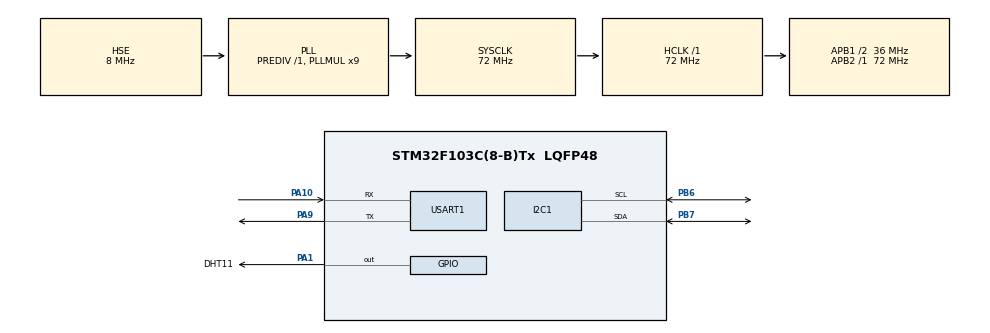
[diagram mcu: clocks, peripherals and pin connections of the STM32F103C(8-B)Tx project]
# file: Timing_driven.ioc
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Mcu.Family=STM32F1
Mcu.Name=STM32F103C(8-B)Tx
Mcu.Package=LQFP48
NVIC.PriorityGroup=NVIC_PRIORITYGROUP_4
NVIC.USART1_IRQn=true\:1\:0\:true\:false\:true\:true\:true\:true
PA1.GPIO_Label=DHT11
PA1.Signal=GPIO_Output
PA10.Mode=Asynchronous
PA10.Signal=USART1_RX
PA13.Mode=Serial_Wire
PA13.Signal=SYS_JTMS-SWDIO
PA14.Mode=Serial_Wire
PA14.Signal=SYS_JTCK-SWCLK
PA9.Mode=Asynchronous
PA9.Signal=USART1_TX
PB6.Mode=I2C
PB6.Signal=I2C1_SCL
PB7.Mode=I2C
PB7.Signal=I2C1_SDA
PD0-OSC_IN.Mode=HSE-External-Oscillator
PD0-OSC_IN.Signal=RCC_OSC_IN
PD1-OSC_OUT.Mode=HSE-External-Oscillator
PD1-OSC_OUT.Signal=RCC_OSC_OUT
ProjectManager.HeapSize=0x200
ProjectManager.StackSize=0x400
ProjectManager.TargetToolchain=STM32CubeIDE
RCC.AHBFreq_Value=72000000
RCC.APB1CLKDivider=RCC_HCLK_DIV2
RCC.APB1Freq_Value=36000000
RCC.APB1TimFreq_Value=72000000
RCC.APB2Freq_Value=72000000
RCC.APB2TimFreq_Value=72000000
RCC.HCLKFreq_Value=72000000
RCC.PLLMUL=RCC_PLL_MUL9
RCC.PLLSourceVirtual=RCC_PLLSOURCE_HSE
RCC.SYSCLKFreq_VALUE=72000000
RCC.SYSCLKSource=RCC_SYSCLKSOURCE_PLLCLK
RCC.USBFreq_Value=72000000
TIM1.Prescaler=71
USART1.VirtualMode=VM_ASYNC
VP_TIM1_VS_ClockSourceINT.Mode=Internal
board=custom

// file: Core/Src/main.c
/* USER CODE BEGIN Header */
/**
  ******************************************************************************
  * @file           : main.c
  * @brief          : Main program body
  ******************************************************************************
  * @attention
  *
  * Copyright (c) 2024 STMicroelectronics.
  * All rights reserved.
  *
  * This software is licensed under terms that can be found in the LICENSE file
  * in the root directory of this software component.
  * If no LICENSE file comes with this software, it is provided AS-IS.
  *
  ******************************************************************************
  */
/* USER CODE END Header */
#include "main.h"
#include "DHT.h"
#include "lcd1602_i2c.h"
#include "queue.h"
#include "stdio.h"
#include "string.h"
I2C_HandleTypeDef hi2c1;
TIM_HandleTypeDef htim1;
TIM_HandleTypeDef htim2;
UART_HandleTypeDef huart1;

/* USER CODE BEGIN PV */
DHT_Name dht;
char temp[16];
char humid[16];
char RxData[4];
uint8_t cycle=1;
EventQueue event;
enum SystemEvent currentEvent;
/* USER CODE END PV */

void SystemClock_Config(void);
static void MX_GPIO_Init(void);
static void MX_TIM1_Init(void);
//static void MX_TIM2_Init(void);
static void MX_USART1_UART_Init(void);
static void MX_I2C1_Init(void);
void readSensor();
void displayLCD();
void transmitData();
void initEventQueue();

void (*execute_task[])(void) = {readSensor,displayLCD,transmitData};

int main(void)
{

  HAL_Init();

  SystemClock_Config();

  MX_GPIO_Init();
  MX_TIM1_Init();

  MX_USART1_UART_Init();
  MX_I2C1_Init();

	DHT_Init(&dht,DHT11,&htim1,DHT11_GPIO_Port,DHT11_Pin);

	lcd1602_i2c_init(&hi2c1);
	EventQueue_Init(&event);
	initEventQueue();
	uint32_t timeSytick;

	//HAL_UART_Receive_IT(&huart1,(uint8_t*)RxData, 1);

  while (1)
  {

		timeSytick=HAL_GetTick();
		if(timeSytick%(cycle*1000))
		{
			EventQueue_Put(&event,EVENT01);

		}
			if(EventQueue_isEmpty(&event)){
      HAL_UART_Transmit(&huart1, (uint8_t*)"Suspend", 7, 1000);
		  HAL_UART_Transmit(&huart1,(uint8_t*)"\n", 2, 100);
				HAL_PWR_EnterSLEEPMode(PWR_MAINREGULATOR_ON, PWR_SLEEPENTRY_WFI);
				HAL_Delay(500);
			}
			else{
			currentEvent=EventQueue_Get(&event);
			(*execute_task[currentEvent])();
			}
  }

}

void SystemClock_Config(void)
{
  RCC_OscInitTypeDef RCC_OscInitStruct = {0};
  RCC_ClkInitTypeDef RCC_ClkInitStruct = {0};
  RCC_OscInitStruct.OscillatorType = RCC_OSCILLATORTYPE_HSE;
  RCC_OscInitStruct.HSEState = RCC_HSE_ON;
  RCC_OscInitStruct.HSEPredivValue = RCC_HSE_PREDIV_DIV1;
  RCC_OscInitStruct.HSIState = RCC_HSI_ON;
  RCC_OscInitStruct.PLL.PLLState = RCC_PLL_ON;
  RCC_OscInitStruct.PLL.PLLSource = RCC_PLLSOURCE_HSE;
  RCC_OscInitStruct.PLL.PLLMUL = RCC_PLL_MUL9;
  if (HAL_RCC_OscConfig(&RCC_OscInitStruct) != HAL_OK)
  {
    Error_Handler();
  }

  RCC_ClkInitStruct.ClockType = RCC_CLOCKTYPE_HCLK|RCC_CLOCKTYPE_SYSCLK
                              |RCC_CLOCKTYPE_PCLK1|RCC_CLOCKTYPE_PCLK2;
  RCC_ClkInitStruct.SYSCLKSource = RCC_SYSCLKSOURCE_PLLCLK;
  RCC_ClkInitStruct.AHBCLKDivider = RCC_SYSCLK_DIV1;
  RCC_ClkInitStruct.APB1CLKDivider = RCC_HCLK_DIV2;
  RCC_ClkInitStruct.APB2CLKDivider = RCC_HCLK_DIV1;

  if (HAL_RCC_ClockConfig(&RCC_ClkInitStruct, FLASH_LATENCY_2) != HAL_OK)
  {
    Error_Handler();
  }
}

static void MX_I2C1_Init(void)
{

  hi2c1.Instance = I2C1;
  hi2c1.Init.ClockSpeed = 100000;
  hi2c1.Init.DutyCycle = I2C_DUTYCYCLE_2;
  hi2c1.Init.OwnAddress1 = 0;
  hi2c1.Init.AddressingMode = I2C_ADDRESSINGMODE_7BIT;
  hi2c1.Init.DualAddressMode = I2C_DUALADDRESS_DISABLE;
  hi2c1.Init.OwnAddress2 = 0;
  hi2c1.Init.GeneralCallMode = I2C_GENERALCALL_DISABLE;
  hi2c1.Init.NoStretchMode = I2C_NOSTRETCH_DISABLE;
  if (HAL_I2C_Init(&hi2c1) != HAL_OK)
  {
    Error_Handler();
  }

}

static void MX_TIM1_Init(void)
{

  TIM_ClockConfigTypeDef sClockSourceConfig = {0};
  TIM_MasterConfigTypeDef sMasterConfig = {0};

  htim1.Instance = TIM1;
  htim1.Init.Prescaler = 71;
  htim1.Init.CounterMode = TIM_COUNTERMODE_UP;
  htim1.Init.Period = 65535;
  htim1.Init.ClockDivision = TIM_CLOCKDIVISION_DIV1;
  htim1.Init.RepetitionCounter = 0;
  htim1.Init.AutoReloadPreload = TIM_AUTORELOAD_PRELOAD_DISABLE;
  if (HAL_TIM_Base_Init(&htim1) != HAL_OK)
  {
    Error_Handler();
  }
  sClockSourceConfig.ClockSource = TIM_CLOCKSOURCE_INTERNAL;
  if (HAL_TIM_ConfigClockSource(&htim1, &sClockSourceConfig) != HAL_OK)
  {
    Error_Handler();
  }
  sMasterConfig.MasterOutputTrigger = TIM_TRGO_RESET;
  sMasterConfig.MasterSlaveMode = TIM_MASTERSLAVEMODE_DISABLE;
  if (HAL_TIMEx_MasterConfigSynchronization(&htim1, &sMasterConfig) != HAL_OK)
  {
    Error_Handler();
  }

}

static void MX_USART1_UART_Init(void)
{

  huart1.Instance = USART1;
  huart1.Init.BaudRate = 115200;
  huart1.Init.WordLength = UART_WORDLENGTH_8B;
  huart1.Init.StopBits = UART_STOPBITS_1;
  huart1.Init.Parity = UART_PARITY_NONE;
  huart1.Init.Mode = UART_MODE_TX_RX;
  huart1.Init.HwFlowCtl = UART_HWCONTROL_NONE;
  huart1.Init.OverSampling = UART_OVERSAMPLING_16;
  if (HAL_UART_Init(&huart1) != HAL_OK)
  {
    Error_Handler();
  }

}

static void MX_GPIO_Init(void)
{
  GPIO_InitTypeDef GPIO_InitStruct = {0};

  /* GPIO Ports Clock Enable */
  __HAL_RCC_GPIOD_CLK_ENABLE();
  __HAL_RCC_GPIOA_CLK_ENABLE();
  __HAL_RCC_GPIOB_CLK_ENABLE();

  /*Configure GPIO pin Output Level */
  HAL_GPIO_WritePin(DHT11_GPIO_Port, DHT11_Pin, GPIO_PIN_RESET);

  /*Configure GPIO pin : DHT11_Pin */
  GPIO_InitStruct.Pin = DHT11_Pin;
  GPIO_InitStruct.Mode = GPIO_MODE_OUTPUT_PP;
  GPIO_InitStruct.Pull = GPIO_NOPULL;
  GPIO_InitStruct.Speed = GPIO_SPEED_FREQ_LOW;
  HAL_GPIO_Init(DHT11_GPIO_Port, &GPIO_InitStruct);

}

/* USER CODE BEGIN 4 */
void readSensor(){
    HAL_UART_Transmit(&huart1, (uint8_t*)"Task01", 6, 1000);
	  HAL_UART_Transmit(&huart1,(uint8_t*)"\n", 2, 100);
		EventQueue_Put(&event, EVENT02);
		DHT_ReadTempHum(&dht);
		//readDHT11(&dht11);

		sprintf(temp,"TEMP=%.1f",(float)dht.Temp);
		sprintf(humid,"Humid=%.1f",(float)dht.Humi);
}

void displayLCD(){
  HAL_UART_Transmit(&huart1, (uint8_t*)"Task02", 6, 1000);
	HAL_UART_Transmit(&huart1,(uint8_t*)"\n", 2, 100);
	EventQueue_Put(&event, EVENT03);
	lcd1602_i2c_1stLine();
	lcd1602_i2c_printf(temp);
	lcd1602_i2c_2ndLine();
	lcd1602_i2c_printf(humid);
}
void transmitData(){
    HAL_UART_Transmit(&huart1, (uint8_t*)"Task03", 6, 1000);
	  HAL_UART_Transmit(&huart1,(uint8_t*)"\n", 2, 100);
		HAL_UART_Transmit(&huart1,(uint8_t*)temp,strlen(temp),1000);
		HAL_UART_Transmit(&huart1,(uint8_t*)"\n",2,100);
		HAL_UART_Transmit(&huart1,(uint8_t*)humid,strlen(humid),1000);
		HAL_UART_Transmit(&huart1,(uint8_t*)"\n",2,100);
}
void initEventQueue(){
	event.event[0]=EVENT01;
	event.event[1]=EVENT02;
	event.event[2]=EVENT03;
}

void HAL_UART_RxCpltCallback(UART_HandleTypeDef *huart){
	if(huart->Instance==huart1.Instance){
		int i=0;
		if(RxData[4]!='K'){
			i++;
			HAL_UART_Receive_IT(&huart1,(uint8_t*)RxData+i, 1);
		}
		else{
			cycle= (RxData[0]-48)*10+(RxData[1]-48);
		}
	}
}

/* USER CODE END 4 */

void Error_Handler(void)
{
  __disable_irq();
  while (1)
  {
  }
}
